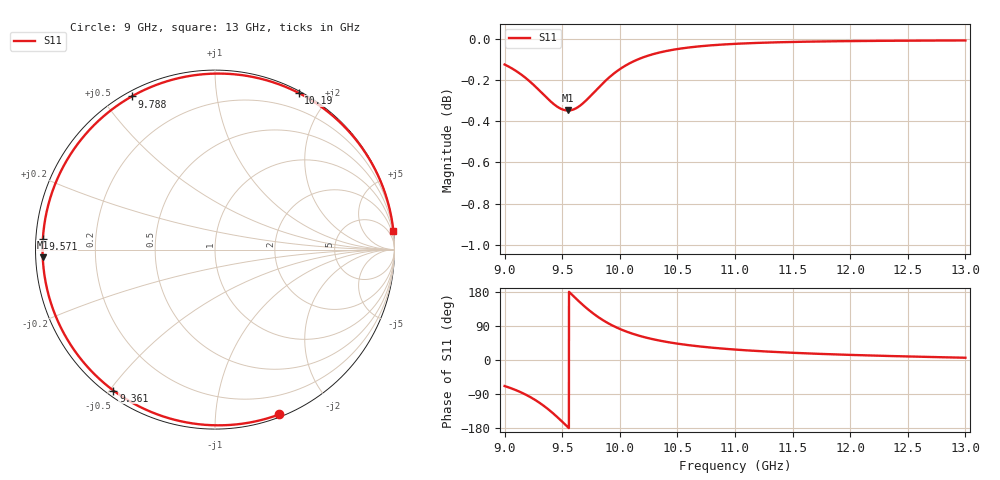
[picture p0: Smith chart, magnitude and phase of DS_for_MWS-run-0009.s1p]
! TOUCHSTONE file generated by CST DESIGN STUDIO
! Date and time: Tue Feb  4 17:45:10 2025
! Project name: C:\Work\MatlabApps\UnitCellOptimizationMatlab\CST\unitcell.cst
! Tree item: Tasks\Sweep1\SPara1\S-Parameters
! Header version: 2024
! Port assignment regex: !\s*Touchstone port\s*([0-9]+)\s*=\s*(CST MWS port|CST DES external port|CST DES block port)\s*(.+)\s* \(\"(.*)\"\)(\s*mode\s*([0-9]+))?.*
! Touchstone port assignment:
! Touchstone port 1 = CST DES external port 1 ("")
# GHz S MA R 50
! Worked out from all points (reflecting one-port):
!   4001 points, 9 GHz to 13 GHz, reference 50 ohm
!   lowest |S11| = -0.3 dB at 9.55 GHz (marker M1), VSWR 49.98, Z = 1 - j1.12 ohm
!   phase of S11 starts at -69 deg and turns -285 deg over the sweep
!   S11 on the Smith chart (normalised r, x): 9 GHz: 0.02, -1.46; 9.361 GHz: 0.02, -0.51; 9.571 GHz: 0.02, +0.03; 9.788 GHz: 0.02, +0.59; 10.19 GHz: 0.02, +1.67; 13 GHz: 0, +19
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9  0.9858 -68.7
9.039  0.9845 -72.7
9.104  0.9821 -80.3
9.215  0.9767 -96.5
9.292  0.9722 -110.7
9.361  0.9679 -125.8
9.428  0.9641 -142.6
9.5  0.9614 -162.7
9.55  0.9608 -177.4
9.571  0.9609 176.3
9.626  0.9622 160.2
9.687  0.965 143.2
9.737  0.968 130.4
9.788  0.9714 118.5
9.834  0.9743 108.9
9.883  0.9773 99.8
9.937  0.9803 90.9
10  0.9832 82.0
10.092  0.9867 71.2
10.193  0.9896 61.9
10.334  0.9923 51.9
10.5  0.9944 43.2
10.721  0.9961 34.9
11  0.9973 27.6
11.5  0.9983 19.0
12  0.9988 13.5
12.5  0.9991 9.3
13  0.9992 6.0
